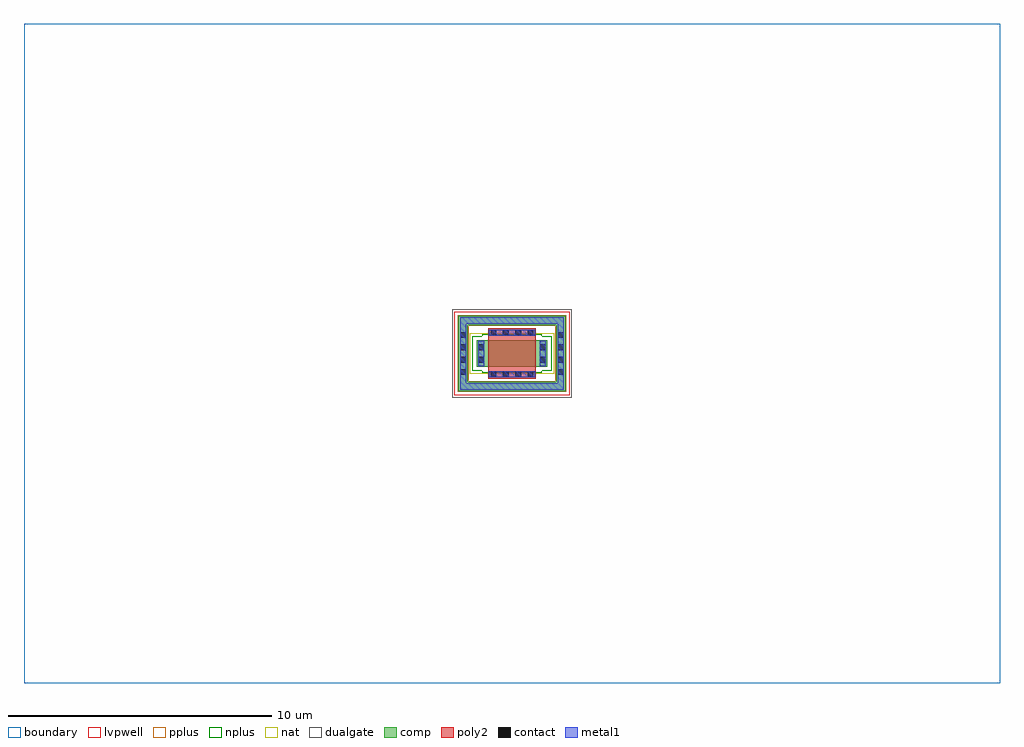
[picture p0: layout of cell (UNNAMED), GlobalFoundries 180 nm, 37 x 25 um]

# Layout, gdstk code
import gdstk
lib = gdstk.Library(unit=1e-6, precision=1e-09)
def R(c, l, rs):  # rectangles x0, y0, x1, y1
    for r in rs: c.add(gdstk.rectangle(r[:2], r[2:], *l))
def A(c, l, x, y, w, h, nx, ny, dx, dy):  # array of equal rectangles
    R(c, l, [(x+i*dx, y+j*dy, x+i*dx+w, y+j*dy+h) for i in range(nx) for j in range(ny)])
boundary = (0, 0)
nat = (5, 0)
comp = (22, 0)
poly2 = (30, 0)
pplus = (31, 0)
nplus = (32, 0)
contact = (33, 0)
metal1 = (34, 0)
dualgate = (55, 0)
lvpwell = (204, 0)

c__unnamed_ = lib.new_cell('(UNNAMED)')
R(c__unnamed_, boundary, [(-18.5,-12.5,18.5,12.5)])
R(c__unnamed_, nat, [(-1.6,-0.76,1.6,0.76)])
R(c__unnamed_, comp, [(-2.03,-1.43,2.03,-1.07), (-2.03,-1.07,-1.67,1.07), (1.67,-1.07,2.03,1.07), (-1.34,-0.5,1.34,0.5), (-2.03,1.07,2.03,1.43)])
R(c__unnamed_, poly2, [(-0.9,-0.96,0.9,0.96)])
R(c__unnamed_, pplus, [(-2.05,-1.45,2.05,-1.05), (-2.05,-1.05,-1.64,-0.945), (1.64,-1.05,2.05,-0.945), (-2.06,-0.945,-1.64,0.945), (1.64,-0.945,2.06,0.945), (-2.05,0.945,-1.64,1.05), (1.64,0.945,2.05,1.05), (-2.05,1.05,2.05,1.45)])
R(c__unnamed_, nplus, [(-1.13,-0.73,1.13,-0.66), (-1.5,-0.66,1.5,0.66), (-1.13,0.66,1.13,0.73)])
A(c__unnamed_, contact, -0.815, -0.89, 0.22, 0.22, 4, 2, 0.47, 1.56)
A(c__unnamed_, contact, -1.96, -0.815, 0.22, 0.22, 1, 4, 0, 0.47)
A(c__unnamed_, contact, 1.74, -0.815, 0.22, 0.22, 1, 4, 0, 0.47)
R(c__unnamed_, contact, [(-1.27,-0.345,-1.05,-0.125), (1.05,-0.345,1.27,-0.125), (-1.27,0.125,-1.05,0.345), (1.05,0.125,1.27,0.345)])
R(c__unnamed_, metal1, [(-1.965,-1.365,1.965,-1.135), (-1.965,-1.135,-1.735,1.135), (1.735,-1.135,1.965,1.135), (-0.89,-0.895,0.89,-0.665), (-1.275,-0.49,-1.045,0.49), (1.045,-0.49,1.275,0.49), (-0.89,0.665,0.89,0.895), (-1.965,1.135,1.965,1.365)])
R(c__unnamed_, dualgate, [(-2.27,-1.67,2.27,1.67)])
R(c__unnamed_, lvpwell, [(-2.19,-1.59,2.19,1.59)])

lib.write_gds('_UNNAMED_.gds')
